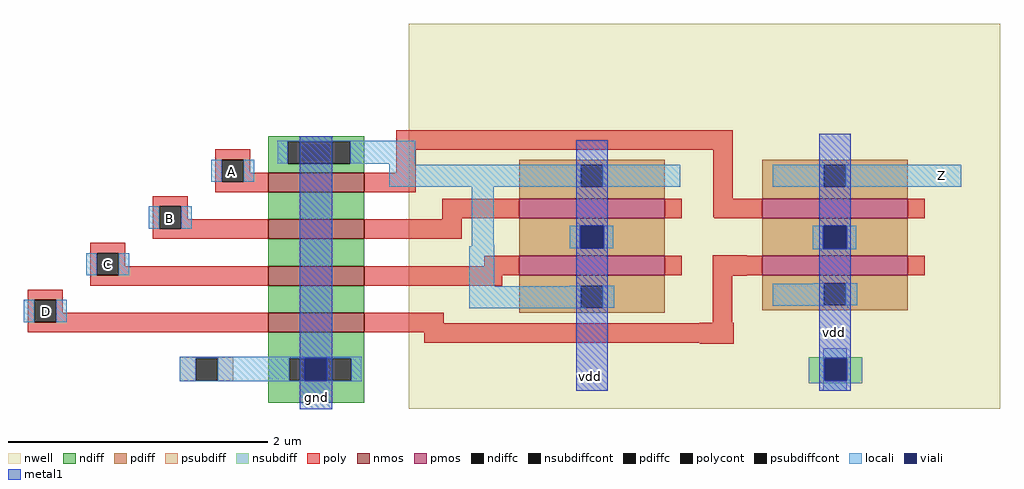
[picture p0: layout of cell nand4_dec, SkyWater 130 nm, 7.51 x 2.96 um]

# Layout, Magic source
magic
tech sky130A
magscale 1 2
<< nwell >>
rect 622 -60 1532 532
<< nmos >>
rect 406 273 554 303
rect 406 201 554 231
rect 406 129 554 159
rect 406 57 554 87
<< pmos >>
rect 792 233 1016 263
rect 1166 233 1390 263
rect 792 145 1016 175
rect 1166 145 1390 175
<< ndiff >>
rect 406 351 554 359
rect 406 317 436 351
rect 532 317 554 351
rect 406 303 554 317
rect 406 231 554 273
rect 406 159 554 201
rect 406 87 554 129
rect 406 17 554 57
rect 406 -17 438 17
rect 534 -17 554 17
rect 406 -51 554 -17
<< pdiff >>
rect 792 315 1016 323
rect 792 281 887 315
rect 921 281 1016 315
rect 792 263 1016 281
rect 1166 315 1390 323
rect 1166 281 1261 315
rect 1295 281 1390 315
rect 1166 263 1390 281
rect 792 221 1016 233
rect 792 187 887 221
rect 921 187 1016 221
rect 792 175 1016 187
rect 1166 221 1390 233
rect 1166 186 1261 221
rect 1295 186 1390 221
rect 1166 175 1390 186
rect 792 129 1016 145
rect 792 95 887 129
rect 921 95 1016 129
rect 792 87 1016 95
rect 1166 133 1390 145
rect 1166 99 1261 133
rect 1295 99 1390 133
rect 1166 91 1390 99
<< ndiffc >>
rect 436 317 532 351
rect 438 -17 534 17
<< pdiffc >>
rect 887 281 921 315
rect 1261 281 1295 315
rect 887 187 921 221
rect 1261 186 1295 221
rect 887 95 921 129
rect 1261 99 1295 133
<< psubdiff >>
rect 270 17 352 19
rect 270 -17 294 17
rect 328 -17 352 17
<< nsubdiff >>
rect 1238 17 1320 19
rect 1238 -17 1262 17
rect 1296 -17 1320 17
rect 1238 -21 1320 -17
<< psubdiffcont >>
rect 294 -17 328 17
<< nsubdiffcont >>
rect 1262 -17 1296 17
<< poly >>
rect 324 323 378 339
rect 324 289 334 323
rect 368 303 378 323
rect 603 338 1121 368
rect 603 303 633 338
rect 368 289 406 303
rect 324 273 406 289
rect 554 273 633 303
rect 228 251 282 267
rect 228 217 238 251
rect 272 231 282 251
rect 1091 263 1121 338
rect 674 233 792 263
rect 1016 233 1042 263
rect 1091 234 1166 263
rect 1092 233 1166 234
rect 1390 233 1416 263
rect 674 231 704 233
rect 272 217 406 231
rect 228 201 406 217
rect 554 201 704 231
rect 132 179 186 195
rect 132 145 142 179
rect 176 159 186 179
rect 1090 175 1142 176
rect 738 159 792 175
rect 176 145 406 159
rect 132 129 406 145
rect 554 145 792 159
rect 1016 145 1042 175
rect 1090 145 1166 175
rect 1390 145 1416 175
rect 554 129 766 145
rect 36 107 90 123
rect 36 73 46 107
rect 80 87 90 107
rect 1090 144 1142 145
rect 80 73 406 87
rect 36 57 406 73
rect 554 71 676 87
rect 1090 72 1120 144
rect 1070 71 1122 72
rect 554 57 1122 71
rect 646 41 1122 57
rect 1070 40 1122 41
<< polycont >>
rect 334 289 368 323
rect 238 217 272 251
rect 142 145 176 179
rect 46 73 80 107
<< locali >>
rect 420 351 632 352
rect 318 289 334 323
rect 368 289 384 323
rect 420 317 436 351
rect 532 317 632 351
rect 592 315 632 317
rect 592 281 887 315
rect 921 281 1040 315
rect 1182 281 1261 315
rect 1295 281 1472 315
rect 222 217 238 251
rect 272 217 288 251
rect 719 192 753 281
rect 719 190 754 192
rect 126 145 142 179
rect 176 145 192 179
rect 715 128 754 190
rect 870 187 886 221
rect 922 187 937 221
rect 1244 186 1260 221
rect 1296 186 1311 221
rect 1244 185 1311 186
rect 1244 132 1261 133
rect 870 128 887 129
rect 30 73 46 107
rect 80 73 96 107
rect 715 95 887 128
rect 921 95 938 129
rect 1182 99 1261 132
rect 1295 99 1312 133
rect 1182 98 1269 99
rect 715 94 895 95
rect 270 17 550 20
rect 270 -17 294 17
rect 328 -17 438 17
rect 534 -17 550 17
rect 270 -18 550 -17
rect 1260 17 1296 33
rect 1260 -17 1262 17
rect 1260 -33 1296 -17
<< viali >>
rect 886 187 887 221
rect 887 187 921 221
rect 921 187 922 221
rect 1260 186 1261 221
rect 1261 186 1295 221
rect 1295 186 1296 221
rect 462 -17 496 17
rect 1262 -17 1296 17
<< metal1 >>
rect 454 17 504 359
rect 454 -17 462 17
rect 496 -17 504 17
rect 454 -61 504 -17
rect 880 221 928 353
rect 880 187 886 221
rect 922 187 928 221
rect 880 -33 928 187
rect 1254 221 1302 363
rect 1254 186 1260 221
rect 1296 186 1302 221
rect 1254 17 1302 186
rect 1254 -17 1262 17
rect 1296 -17 1302 17
rect 1254 -33 1302 -17
<< labels >>
rlabel polycont 350 305 350 305 1 A
rlabel polycont 254 233 254 233 1 B
rlabel polycont 158 161 158 161 1 C
rlabel metal1 902 -11 902 -11 1 vdd
rlabel metal1 462 -51 498 -35 1 gnd
rlabel polycont 64 89 64 89 1 D
rlabel metal1 1278 57 1278 57 1 vdd
rlabel locali 1416 281 1468 315 1 Z
<< properties >>
string FIXED_BBOX 0 0 1522 395
string FIXE_BBOX 0 0 1502 532
<< end >>
